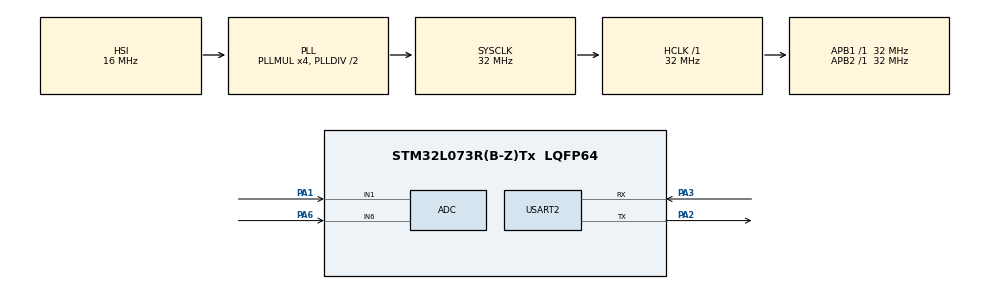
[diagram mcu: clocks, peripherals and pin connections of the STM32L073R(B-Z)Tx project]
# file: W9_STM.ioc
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ADC.ContinuousConvMode=ENABLE
ADC.DMAContinuousRequests=ENABLE
ADC.Overrun=ADC_OVR_DATA_OVERWRITTEN
ADC.OversamplingMode=ENABLE
ADC.Ratio=ADC_OVERSAMPLING_RATIO_2
ADC.SamplingTime=ADC_SAMPLETIME_160CYCLES_5
Dma.ADC.0.Direction=DMA_PERIPH_TO_MEMORY
Dma.ADC.0.Instance=DMA1_Channel1
Dma.ADC.0.MemDataAlignment=DMA_MDATAALIGN_HALFWORD
Dma.ADC.0.MemInc=DMA_MINC_ENABLE
Dma.ADC.0.Mode=DMA_CIRCULAR
Dma.ADC.0.PeriphDataAlignment=DMA_PDATAALIGN_HALFWORD
Dma.ADC.0.PeriphInc=DMA_PINC_DISABLE
Dma.ADC.0.Priority=DMA_PRIORITY_LOW
Dma.Request0=ADC
Mcu.Family=STM32L0
Mcu.Name=STM32L073R(B-Z)Tx
Mcu.Package=LQFP64
NVIC.ADC1_COMP_IRQn=true\:0\:0\:false\:false\:true\:true\:true\:true
NVIC.DMA1_Channel1_IRQn=true\:0\:0\:false\:false\:true\:false\:true\:true
PA1.Mode=IN1
PA1.Signal=ADC_IN1
PA2.Mode=Asynchronous
PA2.Signal=USART2_TX
PA3.Mode=Asynchronous
PA3.Signal=USART2_RX
PA6.Mode=IN6
PA6.Signal=ADC_IN6
ProjectManager.HeapSize=0x200
ProjectManager.StackSize=0x400
ProjectManager.TargetToolchain=STM32CubeIDE
RCC.AHBFreq_Value=32000000
RCC.APB1Freq_Value=32000000
RCC.APB1TimFreq_Value=32000000
RCC.APB2Freq_Value=32000000
RCC.APB2TimFreq_Value=32000000
RCC.HCLKFreq_Value=32000000
RCC.HSE_VALUE=8000000
RCC.HSI16_VALUE=16000000
RCC.HSI48_VALUE=48000000
RCC.HSI_VALUE=16000000
RCC.LSE_VALUE=32768
RCC.MSI_VALUE=2097000
RCC.PLLMUL=RCC_PLLMUL_4
RCC.SYSCLKFreq_VALUE=32000000
RCC.SYSCLKSource=RCC_SYSCLKSOURCE_PLLCLK
RCC.VCOOutputFreq_Value=64000000
TIM6.Prescaler=32-1
USART2.VirtualMode-Asynchronous=VM_ASYNC
VP_TIM6_VS_ClockSourceINT.Mode=Enable_Timer
board=custom

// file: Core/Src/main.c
/* USER CODE BEGIN Header */
/**
  ******************************************************************************
  * @file           : main.c
  * @brief          : Main program body
  ******************************************************************************
  * @attention
  *
  * Copyright (c) 2023 STMicroelectronics.
  * All rights reserved.
  *
  * This software is licensed under terms that can be found in the LICENSE file
  * in the root directory of this software component.
  * If no LICENSE file comes with this software, it is provided AS-IS.
  *
  ******************************************************************************
  */
/* USER CODE END Header */
#include "main.h"

 ADC_HandleTypeDef hadc;
DMA_HandleTypeDef hdma_adc;

TIM_HandleTypeDef htim6;

UART_HandleTypeDef huart2;

void SystemClock_Config(void);
static void MX_GPIO_Init(void);
static void MX_USART2_UART_Init(void);
static void MX_DMA_Init(void);
static void MX_TIM6_Init(void);
static void MX_ADC_Init(void);

/* USER CODE BEGIN 0 */
int __io_putchar(int ch)
{
	HAL_UART_Transmit(&huart2, (uint8_t*)&ch, 1, HAL_MAX_DELAY);
	return 1;
	}
void HAL_ADC_ConvCpltCallback(ADC_HandleTypeDef* hadc)
{
//	value = HAL_ADC_GetValue(hadc);
	}
/* USER CODE END 0 */

int main(void)
{

  /* MCU Configuration--------------------------------------------------------*/

  /* Reset of all peripherals, Initializes the Flash interface and the Systick. */
  HAL_Init();

  /* USER CODE BEGIN Init */
  const char on[]="ON\r\n";
  const char off[]="OFF\r\n";
  uint8_t led=1;
  volatile static uint32_t value[2];
  float voltage[2];
  /* USER CODE END Init */

  /* Configure the system clock */
  SystemClock_Config();

  /* Initialize all configured peripherals */
  MX_GPIO_Init();
  MX_USART2_UART_Init();
  MX_DMA_Init();
  MX_TIM6_Init();
  MX_ADC_Init();
  /* USER CODE BEGIN 2 */
HAL_ADCEx_Calibration_Start(&hadc, ADC_SINGLE_ENDED);
HAL_ADC_Start_DMA(&hadc, (uint32_t*)value,2);

uint32_t time_start, time_stop, time_delta;
HAL_TIM_Base_Start(&htim6);
//time_start=__HAL_TIM_GET_COUNTER(&htim6);
//HAL_Delay(50);
//time_stop=__HAL_TIM_GET_COUNTER(&htim6);
//time_delta=time_stop - time_start;
//
//printf("Delta Time: %lu", time_delta);

//HAL_ADC_Start_IT(&hadc);
//HAL_ADC_PollForConversion(&hadc, HAL_MAX_DELAY);
  /* USER CODE END 2 */

  /* Infinite loop */
  /* USER CODE BEGIN WHILE */
  while (1)
  {
//	 //uint32_t value = HAL_ADC_GetValue(&hadc);
//	 float voltage = 3.3f*value/4096.0f;
//	 printf("ADC = %lu (%.3f V)\r\n", value, voltage);
//	 HAL_Delay(500);
	  htim6.Instance->CNT=0;
	  HAL_ADC_Start(&hadc);

//	  HAL_ADC_PollForConversion(&hadc, HAL_MAX_DELAY);
//	  value[0]=HAL_ADC_GetValue(&hadc);
	  voltage[0]=3.3f*value[0]/4096.0f;
//	  HAL_ADC_PollForConversion(&hadc, HAL_MAX_DELAY);
//	  value[1]=HAL_ADC_GetValue(&hadc);
	  voltage[1]=3.3f*value[1]/4096.0f;

	  time_delta=__HAL_TIM_GET_COUNTER(&htim6);
	  printf("ADC ch1 = %lu (%.3f V)   ADC ch2 = %lu (%.3f V)\r\n", value[0], voltage[0], value[1], voltage[1]);
	  printf("Delta Time: %lu\r\n\r\n", time_delta);
	  HAL_Delay(500);

    /* USER CODE END WHILE */

  }
}

void SystemClock_Config(void)
{
  RCC_OscInitTypeDef RCC_OscInitStruct = {0};
  RCC_ClkInitTypeDef RCC_ClkInitStruct = {0};
  RCC_PeriphCLKInitTypeDef PeriphClkInit = {0};

  /** Configure the main internal regulator output voltage
  */
  __HAL_PWR_VOLTAGESCALING_CONFIG(PWR_REGULATOR_VOLTAGE_SCALE1);

  /** Initializes the RCC Oscillators according to the specified parameters
  * in the RCC_OscInitTypeDef structure.
  */
  RCC_OscInitStruct.OscillatorType = RCC_OSCILLATORTYPE_HSI;
  RCC_OscInitStruct.HSIState = RCC_HSI_ON;
  RCC_OscInitStruct.HSICalibrationValue = RCC_HSICALIBRATION_DEFAULT;
  RCC_OscInitStruct.PLL.PLLState = RCC_PLL_ON;
  RCC_OscInitStruct.PLL.PLLSource = RCC_PLLSOURCE_HSI;
  RCC_OscInitStruct.PLL.PLLMUL = RCC_PLLMUL_4;
  RCC_OscInitStruct.PLL.PLLDIV = RCC_PLLDIV_2;
  if (HAL_RCC_OscConfig(&RCC_OscInitStruct) != HAL_OK)
  {
    Error_Handler();
  }

  /** Initializes the CPU, AHB and APB buses clocks
  */
  RCC_ClkInitStruct.ClockType = RCC_CLOCKTYPE_HCLK|RCC_CLOCKTYPE_SYSCLK
                              |RCC_CLOCKTYPE_PCLK1|RCC_CLOCKTYPE_PCLK2;
  RCC_ClkInitStruct.SYSCLKSource = RCC_SYSCLKSOURCE_PLLCLK;
  RCC_ClkInitStruct.AHBCLKDivider = RCC_SYSCLK_DIV1;
  RCC_ClkInitStruct.APB1CLKDivider = RCC_HCLK_DIV1;
  RCC_ClkInitStruct.APB2CLKDivider = RCC_HCLK_DIV1;

  if (HAL_RCC_ClockConfig(&RCC_ClkInitStruct, FLASH_LATENCY_1) != HAL_OK)
  {
    Error_Handler();
  }
  PeriphClkInit.PeriphClockSelection = RCC_PERIPHCLK_USART2;
  PeriphClkInit.Usart2ClockSelection = RCC_USART2CLKSOURCE_PCLK1;
  if (HAL_RCCEx_PeriphCLKConfig(&PeriphClkInit) != HAL_OK)
  {
    Error_Handler();
  }
}

static void MX_ADC_Init(void)
{

  ADC_ChannelConfTypeDef sConfig = {0};

  /** Configure the global features of the ADC (Clock, Resolution, Data Alignment and number of conversion)
  */
  hadc.Instance = ADC1;
  hadc.Init.OversamplingMode = ENABLE;
  hadc.Init.Oversample.Ratio = ADC_OVERSAMPLING_RATIO_2;
  hadc.Init.Oversample.RightBitShift = ADC_RIGHTBITSHIFT_NONE;
  hadc.Init.Oversample.TriggeredMode = ADC_TRIGGEREDMODE_SINGLE_TRIGGER;
  hadc.Init.ClockPrescaler = ADC_CLOCK_SYNC_PCLK_DIV2;
  hadc.Init.Resolution = ADC_RESOLUTION_12B;
  hadc.Init.SamplingTime = ADC_SAMPLETIME_160CYCLES_5;
  hadc.Init.ScanConvMode = ADC_SCAN_DIRECTION_FORWARD;
  hadc.Init.DataAlign = ADC_DATAALIGN_RIGHT;
  hadc.Init.ContinuousConvMode = ENABLE;
  hadc.Init.DiscontinuousConvMode = DISABLE;
  hadc.Init.ExternalTrigConvEdge = ADC_EXTERNALTRIGCONVEDGE_NONE;
  hadc.Init.ExternalTrigConv = ADC_SOFTWARE_START;
  hadc.Init.DMAContinuousRequests = ENABLE;
  hadc.Init.EOCSelection = ADC_EOC_SINGLE_CONV;
  hadc.Init.Overrun = ADC_OVR_DATA_OVERWRITTEN;
  hadc.Init.LowPowerAutoWait = DISABLE;
  hadc.Init.LowPowerFrequencyMode = DISABLE;
  hadc.Init.LowPowerAutoPowerOff = DISABLE;
  if (HAL_ADC_Init(&hadc) != HAL_OK)
  {
    Error_Handler();
  }

  /** Configure for the selected ADC regular channel to be converted.
  */
  sConfig.Channel = ADC_CHANNEL_1;
  sConfig.Rank = ADC_RANK_CHANNEL_NUMBER;
  if (HAL_ADC_ConfigChannel(&hadc, &sConfig) != HAL_OK)
  {
    Error_Handler();
  }

  /** Configure for the selected ADC regular channel to be converted.
  */
  sConfig.Channel = ADC_CHANNEL_6;
  if (HAL_ADC_ConfigChannel(&hadc, &sConfig) != HAL_OK)
  {
    Error_Handler();
  }

}

static void MX_TIM6_Init(void)
{

  TIM_MasterConfigTypeDef sMasterConfig = {0};

  htim6.Instance = TIM6;
  htim6.Init.Prescaler = 32-1;
  htim6.Init.CounterMode = TIM_COUNTERMODE_UP;
  htim6.Init.Period = 65535;
  htim6.Init.AutoReloadPreload = TIM_AUTORELOAD_PRELOAD_DISABLE;
  if (HAL_TIM_Base_Init(&htim6) != HAL_OK)
  {
    Error_Handler();
  }
  sMasterConfig.MasterOutputTrigger = TIM_TRGO_RESET;
  sMasterConfig.MasterSlaveMode = TIM_MASTERSLAVEMODE_DISABLE;
  if (HAL_TIMEx_MasterConfigSynchronization(&htim6, &sMasterConfig) != HAL_OK)
  {
    Error_Handler();
  }

}

static void MX_USART2_UART_Init(void)
{

  huart2.Instance = USART2;
  huart2.Init.BaudRate = 115200;
  huart2.Init.WordLength = UART_WORDLENGTH_8B;
  huart2.Init.StopBits = UART_STOPBITS_1;
  huart2.Init.Parity = UART_PARITY_NONE;
  huart2.Init.Mode = UART_MODE_TX_RX;
  huart2.Init.HwFlowCtl = UART_HWCONTROL_NONE;
  huart2.Init.OverSampling = UART_OVERSAMPLING_16;
  huart2.Init.OneBitSampling = UART_ONE_BIT_SAMPLE_DISABLE;
  huart2.AdvancedInit.AdvFeatureInit = UART_ADVFEATURE_NO_INIT;
  if (HAL_UART_Init(&huart2) != HAL_OK)
  {
    Error_Handler();
  }

}

static void MX_DMA_Init(void)
{

  /* DMA controller clock enable */
  __HAL_RCC_DMA1_CLK_ENABLE();

  /* DMA interrupt init */
  /* DMA1_Channel1_IRQn interrupt configuration */
  HAL_NVIC_SetPriority(DMA1_Channel1_IRQn, 0, 0);
  HAL_NVIC_EnableIRQ(DMA1_Channel1_IRQn);

}

static void MX_GPIO_Init(void)
{

  /* GPIO Ports Clock Enable */
  __HAL_RCC_GPIOA_CLK_ENABLE();

}

void Error_Handler(void)
{
  __disable_irq();
  while (1)
  {
  }
}
